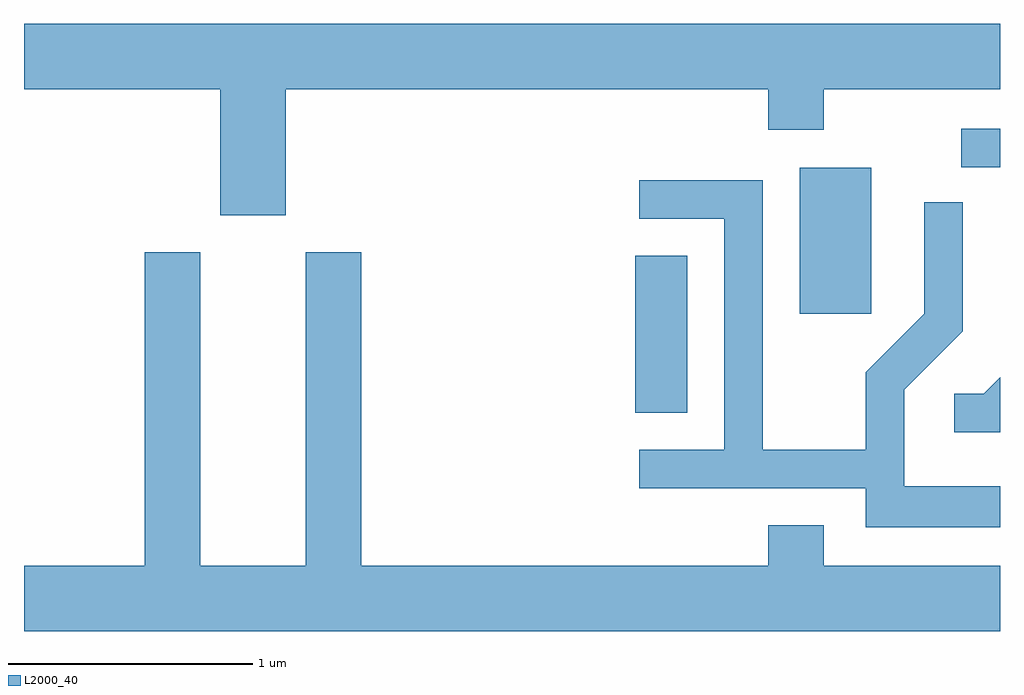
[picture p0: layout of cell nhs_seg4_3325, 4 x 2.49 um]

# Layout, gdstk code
import gdstk
lib = gdstk.Library(unit=1e-6, precision=1e-09)
def R(c, l, rs):  # rectangles x0, y0, x1, y1
    for r in rs: c.add(gdstk.rectangle(r[:2], r[2:], *l))
def P(c, l, *ps):  # polygons
    for p in ps: c.add(gdstk.Polygon(p, *l))
L2000_40 = (2000, 40)

nhs_seg4_3325 = lib.new_cell('nhs_seg4_3325')
R(nhs_seg4_3325, L2000_40, [(284.116,1377.771,284.329,1378.414), (284.791,1378.176,285.084,1378.774), (285.453,1378.776,285.611,1378.934)])
P(nhs_seg4_3325, L2000_40, [(282.684,1379.096),(284.661,1379.096),(284.661,1378.931),(284.889,1378.931),(284.889,1379.096),(285.611,1379.096),(285.611,1379.364),(281.611,1379.364),(281.611,1379.096),(282.416,1379.096),(282.416,1378.581),(282.684,1378.581)],
  [(285.611,1377.469),(285.219,1377.469),(285.219,1377.864),(285.459,1378.104),(285.459,1378.633),(285.301,1378.633),(285.301,1378.177),(285.061,1377.937),(285.061,1377.619),(284.639,1377.619),(284.639,1378.724),(284.133,1378.724),(284.133,1378.566),(284.481,1378.566),(284.481,1377.619),(284.133,1377.619),(284.133,1377.461),(285.061,1377.461),(285.061,1377.301),(285.611,1377.301)],
  [(285.611,1377.144),(284.889,1377.144),(284.889,1377.309),(284.661,1377.309),(284.661,1377.144),(282.994,1377.144),(282.994,1378.429),(282.766,1378.429),(282.766,1377.144),(282.334,1377.144),(282.334,1378.429),(282.106,1378.429),(282.106,1377.144),(281.611,1377.144),(281.611,1376.876),(285.611,1376.876)],
  [(285.611,1377.917),(285.544,1377.849),(285.423,1377.849),(285.423,1377.691),(285.611,1377.691)])

lib.write_gds('nhs_seg4_3325.gds')
